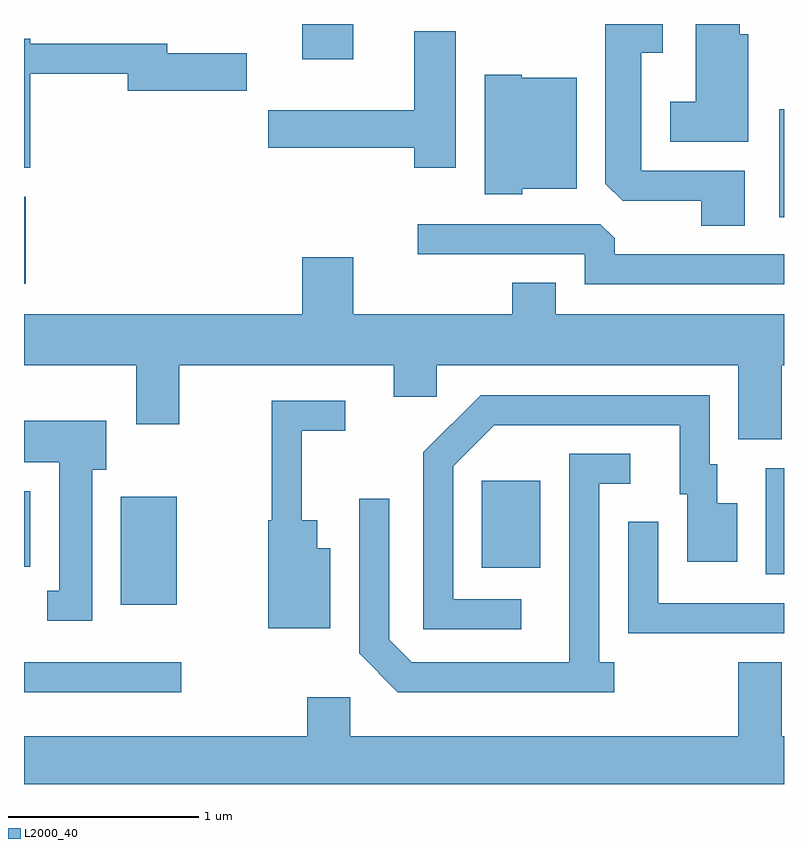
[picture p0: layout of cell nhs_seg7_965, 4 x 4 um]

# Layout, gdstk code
import gdstk
lib = gdstk.Library(unit=1e-6, precision=1e-09)
def R(c, l, rs):  # rectangles x0, y0, x1, y1
    for r in rs: c.add(gdstk.rectangle(r[:2], r[2:], *l))
def P(c, l, *ps):  # polygons
    for p in ps: c.add(gdstk.Polygon(p, *l))
L2000_40 = (2000, 40)

nhs_seg7_965 = lib.new_cell('nhs_seg7_965')
R(nhs_seg7_965, L2000_40, [(213.611,1794.736,214.438,1794.894), (214.121,1795.196,214.414,1795.764), (217.516,1795.356,217.611,1795.914), (216.021,1795.391,216.329,1795.849), (213.611,1795.396,213.644,1795.794), (213.611,1796.886,213.619,1797.344), (217.586,1797.236,217.611,1797.804), (215.076,1798.066,215.344,1798.252)])
P(nhs_seg7_965, L2000_40, [(217.404,1797.479),(216.859,1797.479),(216.859,1798.101),(216.974,1798.101),(216.974,1798.252),(216.671,1798.252),(216.671,1797.412),(216.762,1797.321),(217.176,1797.321),(217.176,1797.191),(217.404,1797.191)],
  [(217.424,1798.199),(217.379,1798.199),(217.379,1798.252),(217.146,1798.252),(217.146,1797.844),(217.011,1797.844),(217.011,1797.631),(217.424,1797.631)],
  [(215.884,1798.214),(215.666,1798.214),(215.666,1797.799),(214.896,1797.799),(214.896,1797.601),(215.666,1797.601),(215.666,1797.496),(215.884,1797.496)],
  [(213.644,1797.991),(214.156,1797.991),(214.156,1797.901),(214.784,1797.901),(214.784,1798.099),(214.364,1798.099),(214.364,1798.149),(213.644,1798.149),(213.644,1798.174),(213.611,1798.174),(213.611,1797.496),(213.644,1797.496)],
  [(216.234,1797.386),(216.519,1797.386),(216.519,1797.969),(216.23,1797.969),(216.23,1797.984),(216.036,1797.984),(216.036,1797.356),(216.234,1797.356)],
  [(217.611,1797.039),(216.719,1797.039),(216.719,1797.124),(216.644,1797.199),(215.683,1797.199),(215.683,1797.041),(216.561,1797.041),(216.561,1796.881),(217.611,1796.881)],
  [(217.599,1796.456),(217.611,1796.456),(217.611,1796.724),(216.409,1796.724),(216.409,1796.889),(216.181,1796.889),(216.181,1796.724),(215.344,1796.724),(215.344,1797.024),(215.076,1797.024),(215.076,1796.724),(213.611,1796.724),(213.611,1796.456),(214.201,1796.456),(214.201,1796.146),(214.429,1796.146),(214.429,1796.456),(215.556,1796.456),(215.556,1796.291),(215.784,1796.291),(215.784,1796.456),(217.371,1796.456),(217.371,1796.066),(217.599,1796.066)],
  [(216.228,1795.224),(215.869,1795.224),(215.869,1795.924),(216.087,1796.141),(217.061,1796.141),(217.061,1795.776),(217.101,1795.776),(217.101,1795.421),(217.364,1795.421),(217.364,1795.729),(217.259,1795.729),(217.259,1795.934),(217.219,1795.934),(217.219,1796.299),(216.014,1796.299),(215.711,1795.997),(215.711,1795.066),(216.228,1795.066)],
  [(215.224,1795.494),(215.154,1795.494),(215.154,1795.639),(215.074,1795.639),(215.074,1796.111),(215.303,1796.111),(215.303,1796.269),(214.916,1796.269),(214.916,1795.639),(214.896,1795.639),(214.896,1795.071),(215.224,1795.071)],
  [(213.969,1795.906),(214.044,1795.906),(214.044,1796.164),(213.611,1796.164),(213.611,1795.946),(213.796,1795.946),(213.796,1795.269),(213.733,1795.269),(213.733,1795.111),(213.969,1795.111)],
  [(216.718,1794.894),(216.639,1794.894),(216.639,1795.831),(216.803,1795.831),(216.803,1795.989),(216.481,1795.989),(216.481,1794.894),(215.652,1794.894),(215.534,1795.012),(215.534,1795.753),(215.376,1795.753),(215.376,1794.939),(215.579,1794.736),(216.718,1794.736)],
  [(217.611,1795.204),(216.949,1795.204),(216.949,1795.633),(216.791,1795.633),(216.791,1795.046),(217.611,1795.046)],
  [(217.611,1794.504),(217.599,1794.504),(217.599,1794.894),(217.371,1794.894),(217.371,1794.504),(215.329,1794.504),(215.329,1794.709),(215.101,1794.709),(215.101,1794.504),(213.611,1794.504),(213.611,1794.252),(217.611,1794.252)])

lib.write_gds('nhs_seg7_965.gds')
